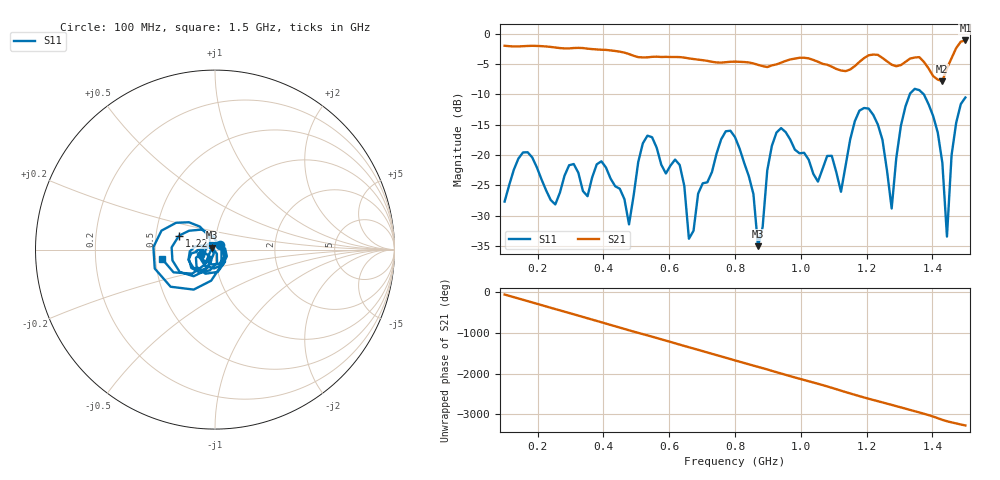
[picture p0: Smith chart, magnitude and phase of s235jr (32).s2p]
! NanoVNA-App
! Date: 2025-09-26 09:45:02
! Start: 100MHz Stop: 1,5GHz Points: 101
! S-Parameter data: F S11 S21 S12 S22
# Hz S RI R 50
!  Frequency  S11_Real  S11_Imag  S21_Real  S21_Imag  S12_Real  S12_Imag  S22_Real  S22_Imag
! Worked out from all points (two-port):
!   101 points, 100 MHz to 1.5 GHz, reference 50 ohm
!   highest |S21| = -1.08 dB at 1.5 GHz (marker M1); lowest = -7.8 dB at 1.43 GHz (marker M2)
!   |S21| within 3 dB of the highest: start of sweep to 665 MHz; 1.19 GHz to 1.251 GHz (60.67 MHz wide, 4.97 % of centre)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
!   lowest |S11| = -35.0 dB at 870 MHz (marker M3), VSWR 1.04, Z = 48.5 + j0.971 ohm
!   |S11| at or under -10 dB: start of sweep to 1.331 GHz; 1.374 GHz to end of sweep
!   S12 and S22 are empty: the file has one direction only
!   S11 on the Smith chart (normalised r, x): 100 MHz: 1.06, +0.06; 1.22 GHz: 0.66, +0.11; 1.5 GHz: 0.54, -0.06
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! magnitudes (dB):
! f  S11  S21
! 100 MHz  -27.7  -2.0
! 156 MHz  -19.6  -2.0
! 338 MHz  -25.9  -2.3
! 394 MHz  -21.0  -2.6
! 478 MHz  -31.4  -3.3
! 520 MHz  -18.1  -3.9
! 576 MHz  -21.6  -3.8
! 632 MHz  -21.6  -3.8
! 660 MHz  -33.8  -4.0
! 800 MHz  -17.0  -4.6
! 870 MHz  -35.0  -5.1
! 926 MHz  -16.3  -5.0
! 1.038 GHz  -23.1  -4.3
! 1.122 GHz  -26.1  -6.0
! 1.164 GHz  -14.4  -5.3
! 1.22 GHz  -13.4  -3.4
! 1.276 GHz  -28.8  -5.1
! 1.346 GHz  -9.1  -3.9
! 1.43 GHz  -21.3  -7.8
! 1.444 GHz  -33.5  -5.7
! 1.458 GHz  -20.0  -4.0
! 1.5 GHz  -10.5  -1.1
